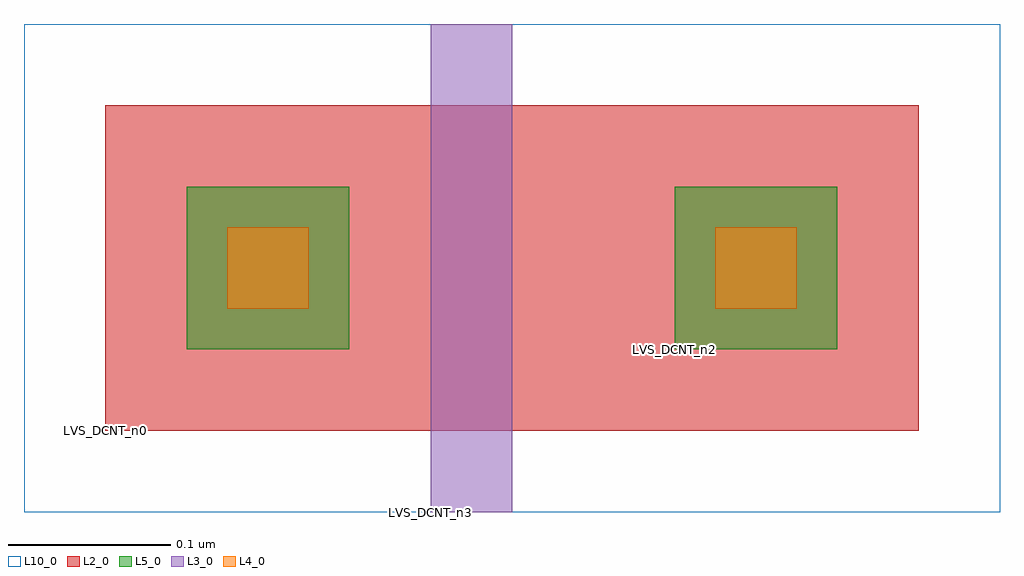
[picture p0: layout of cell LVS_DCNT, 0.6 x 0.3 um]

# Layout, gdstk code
import gdstk
lib = gdstk.Library(unit=1e-6, precision=1e-09)
def R(c, l, rs):  # rectangles x0, y0, x1, y1
    for r in rs: c.add(gdstk.rectangle(r[:2], r[2:], *l))
L2_0 = (2, 0)
L3_0 = (3, 0)
L4_0 = (4, 0)
L5_0 = (5, 0)
L10_0 = (10, 0)

lvs_dcnt = lib.new_cell('LVS_DCNT')
R(lvs_dcnt, L2_0, [(0,0,0.5,0.2)])
R(lvs_dcnt, L3_0, [(0.2,-0.05,0.25,0.25)])
R(lvs_dcnt, L4_0, [(0.075,0.075,0.125,0.125), (0.375,0.075,0.425,0.125)])
R(lvs_dcnt, L5_0, [(0.05,0.05,0.15,0.15), (0.35,0.05,0.45,0.15)])
R(lvs_dcnt, L10_0, [(-0.05,-0.05,0.55,0.25)])
lvs_dcnt.add(gdstk.Label('LVS_DCNT_n0', (0,0), layer=2, texttype=5))
lvs_dcnt.add(gdstk.Label('LVS_DCNT_n2', (0.35,0.05), layer=5, texttype=5))
lvs_dcnt.add(gdstk.Label('LVS_DCNT_n3', (0.2,-0.05), layer=3, texttype=5))

lib.write_gds('LVS_DCNT.gds')
